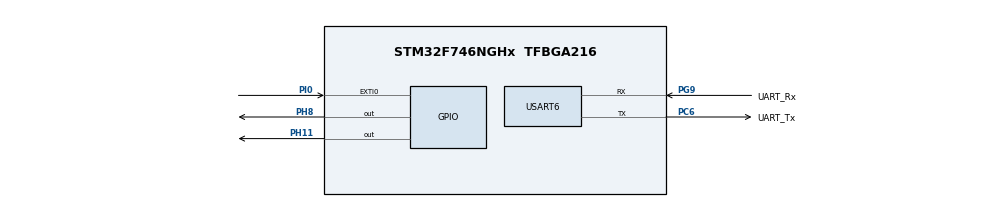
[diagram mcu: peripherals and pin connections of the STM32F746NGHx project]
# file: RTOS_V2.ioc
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FREERTOS.Tasks01=Task01,24,128,DefaultTask,Default,NULL,Dynamic,NULL,NULL;Task02,25,128,Task_02,Default,NULL,Dynamic,NULL,NULL
FREERTOS.configUSE_NEWLIB_REENTRANT=1
Mcu.Family=STM32F7
Mcu.Name=STM32F746NGHx
Mcu.Package=TFBGA216
NVIC.EXTI0_IRQn=true\:5\:0\:true\:false\:true\:true\:true\:true\:true
NVIC.PriorityGroup=NVIC_PRIORITYGROUP_4
NVIC.USART6_IRQn=true\:5\:0\:false\:false\:true\:true\:true\:true\:true
PC6.GPIO_Label=UART_Tx
PC6.Mode=Asynchronous
PC6.Signal=USART6_TX
PG9.GPIO_Label=UART_Rx
PG9.Mode=Asynchronous
PG9.Signal=USART6_RX
PH0/OSC_IN.Mode=HSE-External-Oscillator
PH0/OSC_IN.Signal=RCC_OSC_IN
PH1/OSC_OUT.Mode=HSE-External-Oscillator
PH1/OSC_OUT.Signal=RCC_OSC_OUT
PH11.PinState=GPIO_PIN_SET
PH11.Signal=GPIO_Output
PH8.GPIO_ModeDefaultOutputPP=GPIO_MODE_OUTPUT_PP
PH8.GPIO_PuPd=GPIO_NOPULL
PH8.GPIO_Speed=GPIO_SPEED_FREQ_HIGH
PH8.PinState=GPIO_PIN_SET
PH8.Signal=GPIO_Output
PI0.GPIO_ModeDefaultEXTI=GPIO_MODE_IT_RISING_FALLING
PI0.GPIO_PuPd=GPIO_PULLUP
PI0.Signal=GPXTI0
ProjectManager.HeapSize=0x200
ProjectManager.StackSize=0x400
ProjectManager.TargetToolchain=STM32CubeIDE
RCC.HSE_VALUE=25000000
RCC.HSI_VALUE=16000000
RCC.LSE_VALUE=32768
RCC.USBFreq_Value=96000000
RCC.VCOOutputFreq_Value=192000000
USART6.VirtualMode-Asynchronous=VM_ASYNC
VP_FREERTOS_VS_CMSIS_V2.Mode=CMSIS_V2
board=custom

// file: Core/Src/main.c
/* USER CODE BEGIN Header */
/**
  ******************************************************************************
  * @file           : main.c
  * @brief          : Main program body
  ******************************************************************************
  * @attention
  *
  * Copyright (c) 2023 STMicroelectronics.
  * All rights reserved.
  *
  * This software is licensed under terms that can be found in the LICENSE file
  * in the root directory of this software component.
  * If no LICENSE file comes with this software, it is provided AS-IS.
  *
  ******************************************************************************
  */
/* USER CODE END Header */
#include "main.h"
#include "cmsis_os.h"

UART_HandleTypeDef huart6;

/* Definitions for Task01 */
osThreadId_t Task01Handle;
const osThreadAttr_t Task01_attributes = {
  .name = "Task01",
  .stack_size = 128 * 4,
  .priority = (osPriority_t) osPriorityNormal,
};
/* Definitions for Task02 */
osThreadId_t Task02Handle;
const osThreadAttr_t Task02_attributes = {
  .name = "Task02",
  .stack_size = 128 * 4,
  .priority = (osPriority_t) osPriorityNormal1,
};

void SystemClock_Config(void);
static void MX_GPIO_Init(void);
static void MX_USART6_UART_Init(void);
void DefaultTask(void *argument);
void Task_02(void *argument);

/* USER CODE BEGIN 0 */

char RxBuffer[10];
char RxData;
uint8_t i=0;

void HAL_UART_RxCpltCallback(UART_HandleTypeDef *huart)
{
	RxBuffer[i] = RxData;
	i++;

	HAL_UART_Receive_IT(&huart6, &RxData, 1);
}

/* USER CODE END 0 */

int main(void)
{

  /* MCU Configuration--------------------------------------------------------*/

  /* Reset of all peripherals, Initializes the Flash interface and the Systick. */
  HAL_Init();

  /* Configure the system clock */
  SystemClock_Config();

  /* Initialize all configured peripherals */
  MX_GPIO_Init();
  MX_USART6_UART_Init();
  /* USER CODE BEGIN 2 */

  HAL_UART_Receive_IT(&huart6, &RxData, 1);

  /* USER CODE END 2 */

  /* Init scheduler */
  osKernelInitialize();

  /* Create the thread(s) */
  /* creation of Task01 */
  Task01Handle = osThreadNew(DefaultTask, NULL, &Task01_attributes);

  /* creation of Task02 */
  Task02Handle = osThreadNew(Task_02, NULL, &Task02_attributes);

  /* Start scheduler */
  osKernelStart();
  /* We should never get here as control is now taken by the scheduler */
  /* Infinite loop */
  while (1)
  {

  }
}

void SystemClock_Config(void)
{
  RCC_OscInitTypeDef RCC_OscInitStruct = {0};
  RCC_ClkInitTypeDef RCC_ClkInitStruct = {0};

  /** Configure the main internal regulator output voltage
  */
  __HAL_RCC_PWR_CLK_ENABLE();
  __HAL_PWR_VOLTAGESCALING_CONFIG(PWR_REGULATOR_VOLTAGE_SCALE3);

  /** Initializes the RCC Oscillators according to the specified parameters
  * in the RCC_OscInitTypeDef structure.
  */
  RCC_OscInitStruct.OscillatorType = RCC_OSCILLATORTYPE_HSI;
  RCC_OscInitStruct.HSIState = RCC_HSI_ON;
  RCC_OscInitStruct.HSICalibrationValue = RCC_HSICALIBRATION_DEFAULT;
  RCC_OscInitStruct.PLL.PLLState = RCC_PLL_NONE;
  if (HAL_RCC_OscConfig(&RCC_OscInitStruct) != HAL_OK)
  {
    Error_Handler();
  }

  /** Initializes the CPU, AHB and APB buses clocks
  */
  RCC_ClkInitStruct.ClockType = RCC_CLOCKTYPE_HCLK|RCC_CLOCKTYPE_SYSCLK
                              |RCC_CLOCKTYPE_PCLK1|RCC_CLOCKTYPE_PCLK2;
  RCC_ClkInitStruct.SYSCLKSource = RCC_SYSCLKSOURCE_HSI;
  RCC_ClkInitStruct.AHBCLKDivider = RCC_SYSCLK_DIV1;
  RCC_ClkInitStruct.APB1CLKDivider = RCC_HCLK_DIV1;
  RCC_ClkInitStruct.APB2CLKDivider = RCC_HCLK_DIV1;

  if (HAL_RCC_ClockConfig(&RCC_ClkInitStruct, FLASH_LATENCY_0) != HAL_OK)
  {
    Error_Handler();
  }
}

static void MX_USART6_UART_Init(void)
{

  huart6.Instance = USART6;
  huart6.Init.BaudRate = 115200;
  huart6.Init.WordLength = UART_WORDLENGTH_8B;
  huart6.Init.StopBits = UART_STOPBITS_1;
  huart6.Init.Parity = UART_PARITY_NONE;
  huart6.Init.Mode = UART_MODE_TX_RX;
  huart6.Init.HwFlowCtl = UART_HWCONTROL_NONE;
  huart6.Init.OverSampling = UART_OVERSAMPLING_16;
  huart6.Init.OneBitSampling = UART_ONE_BIT_SAMPLE_DISABLE;
  huart6.AdvancedInit.AdvFeatureInit = UART_ADVFEATURE_NO_INIT;
  if (HAL_UART_Init(&huart6) != HAL_OK)
  {
    Error_Handler();
  }

}

static void MX_GPIO_Init(void)
{
  GPIO_InitTypeDef GPIO_InitStruct = {0};

  /* GPIO Ports Clock Enable */
  __HAL_RCC_GPIOG_CLK_ENABLE();
  __HAL_RCC_GPIOI_CLK_ENABLE();
  __HAL_RCC_GPIOH_CLK_ENABLE();
  __HAL_RCC_GPIOC_CLK_ENABLE();

  /*Configure GPIO pin Output Level */
  HAL_GPIO_WritePin(GPIOH, GPIO_PIN_11|GPIO_PIN_8, GPIO_PIN_SET);

  /*Configure GPIO pin : PI0 */
  GPIO_InitStruct.Pin = GPIO_PIN_0;
  GPIO_InitStruct.Mode = GPIO_MODE_IT_RISING_FALLING;
  GPIO_InitStruct.Pull = GPIO_PULLUP;
  HAL_GPIO_Init(GPIOI, &GPIO_InitStruct);

  /*Configure GPIO pin : PH11 */
  GPIO_InitStruct.Pin = GPIO_PIN_11;
  GPIO_InitStruct.Mode = GPIO_MODE_OUTPUT_PP;
  GPIO_InitStruct.Pull = GPIO_NOPULL;
  GPIO_InitStruct.Speed = GPIO_SPEED_FREQ_LOW;
  HAL_GPIO_Init(GPIOH, &GPIO_InitStruct);

  /*Configure GPIO pin : PH8 */
  GPIO_InitStruct.Pin = GPIO_PIN_8;
  GPIO_InitStruct.Mode = GPIO_MODE_OUTPUT_PP;
  GPIO_InitStruct.Pull = GPIO_NOPULL;
  GPIO_InitStruct.Speed = GPIO_SPEED_FREQ_HIGH;
  HAL_GPIO_Init(GPIOH, &GPIO_InitStruct);

  /* EXTI interrupt init*/
  HAL_NVIC_SetPriority(EXTI0_IRQn, 5, 0);
  HAL_NVIC_EnableIRQ(EXTI0_IRQn);

}

/* USER CODE BEGIN 4 */

  void HAL_GPIO_EXTI_Callback(uint16_t GPIO_Pin)
  {
	  osThreadTerminate(Task02Handle);
	  osThreadTerminate(Task01Handle);
  }

/* USER CODE END 4 */

void DefaultTask(void *argument)
{
  /* USER CODE BEGIN 5 */
  /* Infinite loop */

  for(;;)
  {
		HAL_UART_Transmit(&huart6, "DefaultTask\r\n", 13, 100);
		//LED ON and OFF
	    HAL_GPIO_WritePin(GPIOH, GPIO_PIN_8, GPIO_PIN_RESET);
	    osDelay(100);
	    HAL_GPIO_WritePin(GPIOH, GPIO_PIN_8, GPIO_PIN_SET);

	    osDelay(1000);

  }
  /* USER CODE END 5 */
}

void Task_02(void *argument)
{
  /* USER CODE BEGIN Task_02 */
  /* Infinite loop */
  for(;;)
  {

	  HAL_UART_Transmit(&huart6, "Task2\r\n", 7, 100);

	  HAL_GPIO_WritePin(GPIOH, GPIO_PIN_11, GPIO_PIN_RESET);
	  osDelay(500);
	  HAL_GPIO_WritePin(GPIOH, GPIO_PIN_11, GPIO_PIN_SET);

	  osDelay(500);

  }
  /* USER CODE END Task_02 */
}

void Error_Handler(void)
{
  __disable_irq();
  while (1)
  {
  }
}
